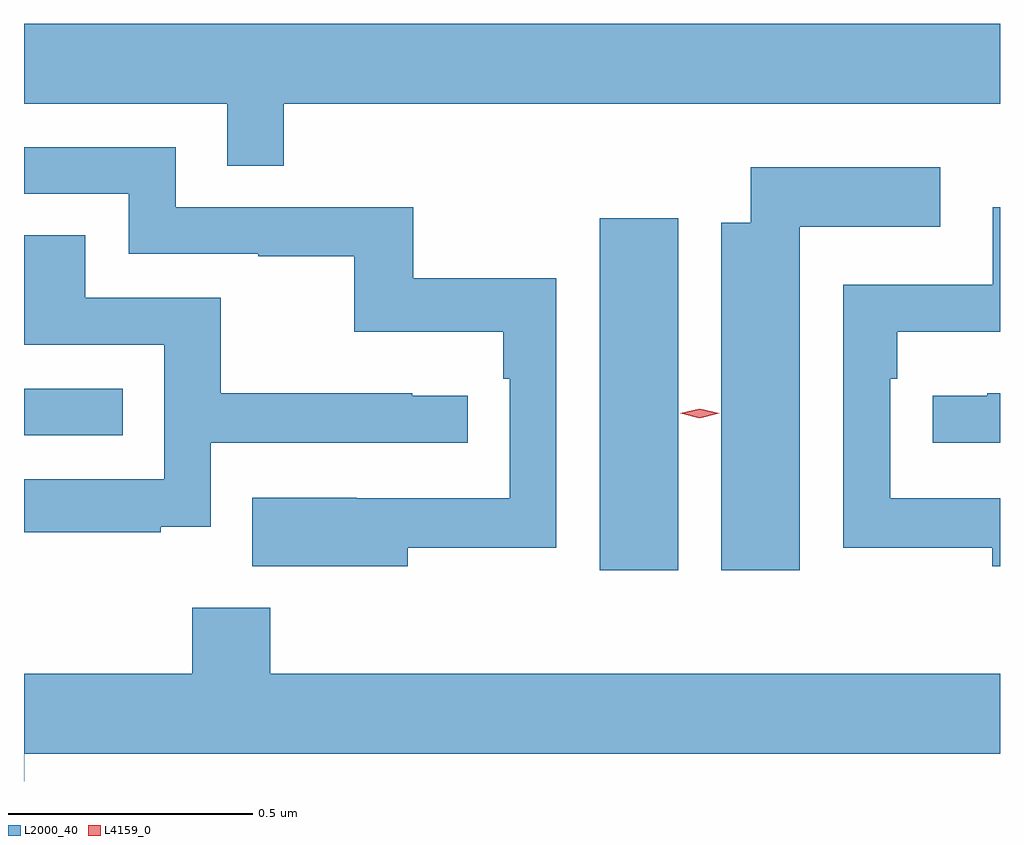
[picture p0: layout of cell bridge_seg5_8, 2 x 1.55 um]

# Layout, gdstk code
import gdstk
lib = gdstk.Library(unit=1e-6, precision=1e-09)
def R(c, l, rs):  # rectangles x0, y0, x1, y1
    for r in rs: c.add(gdstk.rectangle(r[:2], r[2:], *l))
def P(c, l, *ps):  # polygons
    for p in ps: c.add(gdstk.Polygon(p, *l))
L2000_40 = (2000, 40)
L4159_0 = (4159, 0)

bridge_seg5_8 = lib.new_cell('bridge_seg5_8')
R(bridge_seg5_8, L2000_40, [(911.693,878.448,911.854,879.169), (910.513,878.724,910.715,878.82)])
P(bridge_seg5_8, L2000_40, [(911.045,879.404),(912.513,879.404),(912.513,879.568),(910.513,879.568),(910.513,879.404),(910.929,879.404),(910.929,879.277),(911.045,879.277)],
  [(911.299,878.494),(911.604,878.494),(911.604,879.046),(911.311,879.046),(911.311,879.192),(910.824,879.192),(910.824,879.315),(910.513,879.315),(910.513,879.219),(910.728,879.219),(910.728,879.096),(910.993,879.096),(910.993,879.091),(911.19,879.091),(911.19,878.936),(911.495,878.936),(911.495,878.84),(911.508,878.84),(911.508,878.595),(911.195,878.595),(911.195,878.596),(910.981,878.596),(910.981,878.456),(911.299,878.456)],
  [(912.103,879.152),(912.391,879.152),(912.391,879.274),(912.002,879.274),(912.002,879.16),(911.942,879.16),(911.942,878.448),(912.103,878.448)],
  [(912.513,878.595),(912.288,878.595),(912.288,878.84),(912.302,878.84),(912.302,878.936),(912.513,878.936),(912.513,879.192),(912.498,879.192),(912.498,879.033),(912.192,879.033),(912.192,878.494),(912.497,878.494),(912.497,878.456),(912.513,878.456)],
  [(910.793,878.537),(910.896,878.537),(910.896,878.709),(911.422,878.709),(911.422,878.805),(911.309,878.805),(911.309,878.81),(910.916,878.81),(910.916,879.006),(910.639,879.006),(910.639,879.134),(910.513,879.134),(910.513,878.91),(910.8,878.91),(910.8,878.634),(910.513,878.634),(910.513,878.526),(910.793,878.526)],
  [(912.513,878.81),(912.487,878.81),(912.487,878.805),(912.375,878.805),(912.375,878.709),(912.513,878.709)],
  [(910.514,878.072),(912.513,878.072),(912.513,878.236),(911.018,878.236),(911.018,878.371),(910.858,878.371),(910.858,878.236),(910.513,878.236),(910.513,878.015),(910.514,878.015)])
P(bridge_seg5_8, L4159_0, [(911.898,878.759),(911.858,878.769),(911.858,878.769),(911.858,878.769),(911.898,878.779),(911.938,878.769),(911.938,878.769),(911.938,878.769)])

lib.write_gds('bridge_seg5_8.gds')
